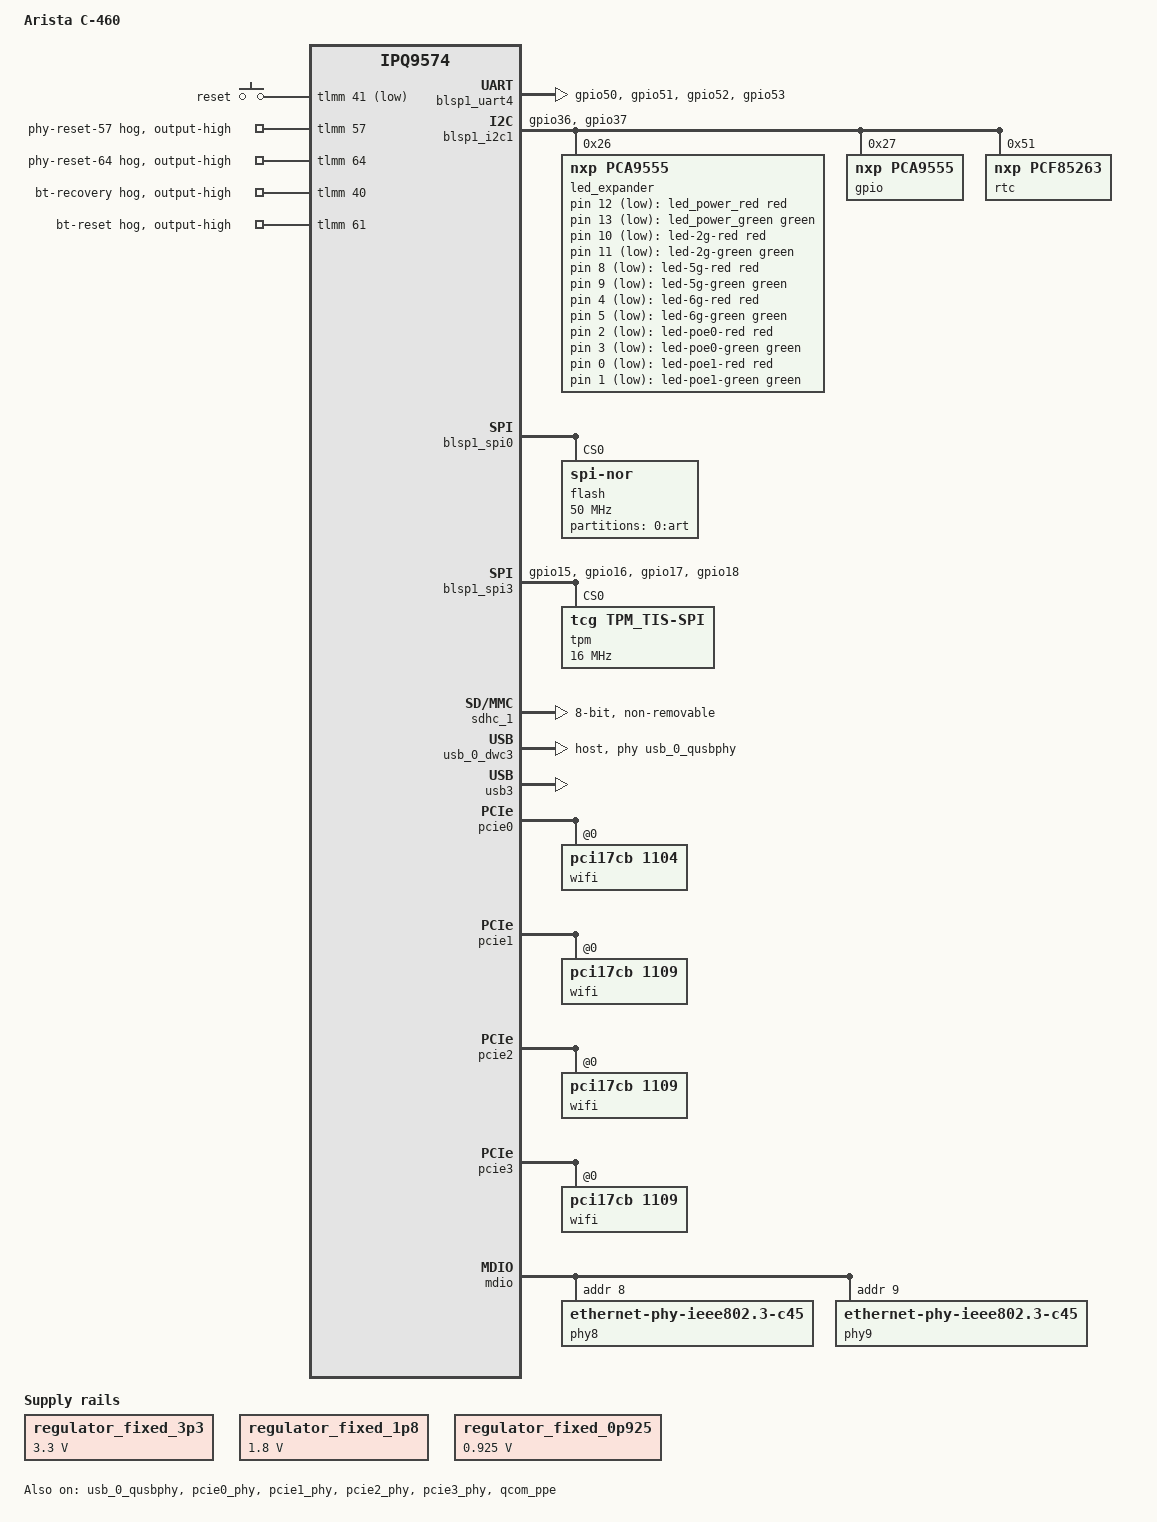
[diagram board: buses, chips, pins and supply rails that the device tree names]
// SPDX-License-Identifier: (GPL-2.0+ OR BSD-3-Clause)

/dts-v1/;

#include "ipq9574-common.dtsi"

/ {
	model = "Arista C-460";
	compatible = "arista,c-460", "qcom,ipq9574";

	aliases {
		led-boot = &led_power_red;
		led-failsafe = &led_power_red;
		led-running = &led_power_green;
		led-upgrade = &led_power_red;

		serial1 = &blsp1_uart4;
	};

	chosen {
		bootargs-append = " root=PARTLABEL=rootfs rootwait";
	};

	keys {
		compatible = "gpio-keys";
		pinctrl-0 = <&button_pins>;
		pinctrl-names = "default";

		reset {
			label = "reset";
			linux,code = <KEY_RESTART>;
			gpios = <&tlmm 41 GPIO_ACTIVE_LOW>;
			debounce-interval = <60>;
		};
	};

	/* Every LED is a red/green pair on the PCA9555 at 0x26, active low. */
	leds {
		compatible = "gpio-leds";

		led_power_red: led-power-red {
			color = <LED_COLOR_ID_RED>;
			function = LED_FUNCTION_POWER;
			gpios = <&led_expander 12 GPIO_ACTIVE_LOW>;
		};

		led_power_green: led-power-green {
			color = <LED_COLOR_ID_GREEN>;
			function = LED_FUNCTION_POWER;
			gpios = <&led_expander 13 GPIO_ACTIVE_LOW>;
		};

		led-2g-red {
			color = <LED_COLOR_ID_RED>;
			function = LED_FUNCTION_WLAN_2GHZ;
			gpios = <&led_expander 10 GPIO_ACTIVE_LOW>;
		};

		led-2g-green {
			color = <LED_COLOR_ID_GREEN>;
			function = LED_FUNCTION_WLAN_2GHZ;
			gpios = <&led_expander 11 GPIO_ACTIVE_LOW>;
		};

		led-5g-red {
			color = <LED_COLOR_ID_RED>;
			function = LED_FUNCTION_WLAN_5GHZ;
			gpios = <&led_expander 8 GPIO_ACTIVE_LOW>;
		};

		led-5g-green {
			color = <LED_COLOR_ID_GREEN>;
			function = LED_FUNCTION_WLAN_5GHZ;
			gpios = <&led_expander 9 GPIO_ACTIVE_LOW>;
		};

		/* "5g_6g" in the vendor firmware */
		led-6g-red {
			color = <LED_COLOR_ID_RED>;
			function = LED_FUNCTION_WLAN_6GHZ;
			gpios = <&led_expander 4 GPIO_ACTIVE_LOW>;
		};

		led-6g-green {
			color = <LED_COLOR_ID_GREEN>;
			function = LED_FUNCTION_WLAN_6GHZ;
			gpios = <&led_expander 5 GPIO_ACTIVE_LOW>;
		};

		/* "poe0" and "poe1" in the vendor firmware */
		led-poe0-red {
			color = <LED_COLOR_ID_RED>;
			function = "poe";
			function-enumerator = <0>;
			gpios = <&led_expander 2 GPIO_ACTIVE_LOW>;
		};

		led-poe0-green {
			color = <LED_COLOR_ID_GREEN>;
			function = "poe";
			function-enumerator = <0>;
			gpios = <&led_expander 3 GPIO_ACTIVE_LOW>;
		};

		led-poe1-red {
			color = <LED_COLOR_ID_RED>;
			function = "poe";
			function-enumerator = <1>;
			gpios = <&led_expander 0 GPIO_ACTIVE_LOW>;
		};

		led-poe1-green {
			color = <LED_COLOR_ID_GREEN>;
			function = "poe";
			function-enumerator = <1>;
			gpios = <&led_expander 1 GPIO_ACTIVE_LOW>;
		};
	};

	/*
	 * The USB PHYs' supplies. The vendor device tree names none and
	 * declares no PMIC LDO for them, so describe them as fixed rails
	 * that are always on, at the reference design's voltages.
	 */
	regulator_fixed_3p3: regulator-3p3 {
		compatible = "regulator-fixed";
		regulator-name = "fixed_3p3";
		regulator-min-microvolt = <3300000>;
		regulator-max-microvolt = <3300000>;
		regulator-always-on;
		regulator-boot-on;
	};

	regulator_fixed_1p8: regulator-1p8 {
		compatible = "regulator-fixed";
		regulator-name = "fixed_1p8";
		regulator-min-microvolt = <1800000>;
		regulator-max-microvolt = <1800000>;
		regulator-always-on;
		regulator-boot-on;
	};

	regulator_fixed_0p925: regulator-0p925 {
		compatible = "regulator-fixed";
		regulator-name = "fixed_0p925";
		regulator-min-microvolt = <925000>;
		regulator-max-microvolt = <925000>;
		regulator-always-on;
		regulator-boot-on;
	};
};

/* Preserve the C-460 regulator constraints when sharing the SoC defaults. */
&ipq9574_s1 {
	/delete-property/ regulator-always-on;
};

&ipq9574_s2 {
	/delete-property/ regulator-min-microvolt;
	/delete-property/ regulator-max-microvolt;
	/delete-property/ regulator-always-on;
};

/* Bluetooth LE controller (HCI over H:4, 1 Mbaud, no flow control) */
&blsp1_uart4 {
	pinctrl-0 = <&uart4_pins>;
	pinctrl-names = "default";
	status = "okay";
};

&blsp1_i2c1 {
	pinctrl-0 = <&i2c1_default>;
	pinctrl-names = "default";
	status = "okay";

	led_expander: gpio@26 {
		compatible = "nxp,pca9555";
		reg = <0x26>;
		gpio-controller;
		#gpio-cells = <2>;
	};

	/* read by the bootloader for PoE negotiation */
	gpio@27 {
		compatible = "nxp,pca9555";
		reg = <0x27>;
		gpio-controller;
		#gpio-cells = <2>;
	};

	rtc@51 {
		compatible = "nxp,pcf85263";
		reg = <0x51>;
	};

	/* Not described yet: a Quectel LC79H GNSS receiver at 0x50. */
};

&blsp1_spi0 {
	pinctrl-0 = <&spi_0_default>;
	pinctrl-names = "default";
	status = "okay";

	flash@0 {
		compatible = "jedec,spi-nor";
		reg = <0>;
		spi-max-frequency = <50000000>;

		/* Partition geometry is read from SMEM. */
		partitions {
			compatible = "qcom,smem-part";
			qcom,smem-flash-id = <0>;

			partition-0-art {
				label = "0:art";
				read-only;

				nvmem-layout {
					compatible = "fixed-layout";
					#address-cells = <1>;
					#size-cells = <1>;

					macaddr_lan1: macaddr@0 {
						reg = <0x0 0x6>;
					};

					macaddr_lan2: macaddr@6 {
						reg = <0x6 0x6>;
					};

					caldata_qcn9074: calibration@26800 {
						reg = <0x26800 0x20000>;
					};
				};
			};
		};
	};
};

/* TPM 2.0 (the vendor firmware's log reports device-id 0x1B, rev-id 22) */
&blsp1_spi3 {
	pinctrl-0 = <&spi_3_default>;
	pinctrl-names = "default";
	status = "okay";

	tpm@0 {
		compatible = "tcg,tpm_tis-spi";
		reg = <0>;
		spi-max-frequency = <16000000>;
	};
};

&sdhc_1 {
	bus-width = <8>;
	max-frequency = <192000000>;
	mmc-ddr-1_8v;
	mmc-hs200-1_8v;
	non-removable;
	pinctrl-0 = <&sdc_default_state>;
	pinctrl-names = "default";
	status = "okay";
};

&usb_0_dwc3 {
	/* The Type-A port is USB 2.0 only: leave the USB 3 PHY out */
	phys = <&usb_0_qusbphy>;
	phy-names = "usb2-phy";
	maximum-speed = "high-speed";
	dr_mode = "host";
};

&usb_0_qusbphy {
	vdd-supply = <&regulator_fixed_0p925>;
	vdda-pll-supply = <&regulator_fixed_1p8>;
	vdda-phy-dpdm-supply = <&regulator_fixed_3p3>;

	status = "okay";
};

&usb3 {
	/* No USB 3 PHY: clock the PIPE interface from UTMI */
	qcom,select-utmi-as-pipe-clk;
	status = "okay";
};

&tlmm {
	/*
	 * GPIO 57 and 64 are the reset lines of the two RTL8261N PHYs. The
	 * vendor firmware lists them for the bus without saying which PHY
	 * each one resets, and the bootloader has already released both, so
	 * they are held released here rather than pulsed per PHY.
	 */
	rtl8261n_reset_57 {
		gpio-hog;
		gpios = <57 GPIO_ACTIVE_HIGH>;
		output-high;
		line-name = "phy-reset-57";
	};

	rtl8261n_reset_64 {
		gpio-hog;
		gpios = <64 GPIO_ACTIVE_HIGH>;
		output-high;
		line-name = "phy-reset-64";
	};

	/*
	 * The Bluetooth controller boots its HCI firmware when its recovery
	 * line (GPIO 40) is high and its reset line (GPIO 61) is released,
	 * as the vendor firmware sets both.
	 */
	bt_recovery {
		gpio-hog;
		gpios = <40 GPIO_ACTIVE_HIGH>;
		output-high;
		line-name = "bt-recovery";
	};

	bt_reset {
		gpio-hog;
		gpios = <61 GPIO_ACTIVE_HIGH>;
		output-high;
		line-name = "bt-reset";
	};

	uart4_pins: uart4-state {
		pins = "gpio50", "gpio51", "gpio52", "gpio53";
		function = "blsp4_uart";
		drive-strength = <8>;
		bias-disable;
	};

	button_pins: button-state {
		pins = "gpio41";
		function = "gpio";
		drive-strength = <8>;
		bias-pull-up;
	};

	i2c1_default: i2c1-default-state {
		pins = "gpio36", "gpio37";
		function = "blsp1_i2c";
		drive-strength = <8>;
		bias-disable;
	};

	spi_3_default: spi-3-default-state {
		pins = "gpio15", "gpio16", "gpio17", "gpio18";
		function = "blsp3_spi";
		drive-strength = <8>;
		bias-disable;
	};

};

/*
 * Radios: pcie0 holds a 17cb:1104 (QCN9074 family, most likely the scan
 * radio), pcie1-3 the three 17cb:1109 QCN9224. Their OTP board ID is blank
 * (0xff), so the vendor firmware gives each one a board ID in its device
 * tree: 0xaa on pcie0, 0x01 on pcie1, 0x04 on pcie2, 0x02 on pcie3. The
 * calibration variants carry those IDs, as the Askey SBE1V1K's do.
 */
&pcie0_phy {
	status = "okay";
};

&pcie0 {
	pinctrl-0 = <&pcie0_default>;
	pinctrl-names = "default";
	perst-gpios = <&tlmm 23 GPIO_ACTIVE_LOW>;
	wake-gpios = <&tlmm 24 GPIO_ACTIVE_LOW>;
	status = "okay";

	pcie@0 {
		device_type = "pci";
		reg = <0x0 0x0 0x0 0x0 0x0>;
		#address-cells = <3>;
		#size-cells = <2>;
		ranges;

		wifi@0 {
			compatible = "pci17cb,1104";
			reg = <0x0 0x0 0x0 0x0 0x0>;
			/* as the vendor firmware: 16 + 1 interfaces, 512 clients */
			qcom,ath11k-fw-memory-mode = <0>;
			qcom,calibration-variant = "Arista-C-460";
			nvmem-cells = <&caldata_qcn9074>;
			nvmem-cell-names = "calibration";
		};
	};
};

&pcie1_phy {
	status = "okay";
};

&pcie1 {
	pinctrl-0 = <&pcie1_default>;
	pinctrl-names = "default";
	perst-gpios = <&tlmm 26 GPIO_ACTIVE_LOW>;
	wake-gpios = <&tlmm 27 GPIO_ACTIVE_LOW>;
	status = "okay";

	pcie@0 {
		device_type = "pci";
		reg = <0x0 0x0 0x0 0x0 0x0>;
		#address-cells = <3>;
		#size-cells = <2>;
		ranges;

		wifi@0 {
			compatible = "pci17cb,1109";
			reg = <0x0 0x0 0x0 0x0 0x0>;
			qcom,calibration-variant = "Arista-C-460_1";
		};
	};
};

&pcie2_phy {
	status = "okay";
};

&pcie2 {
	pinctrl-0 = <&pcie2_default>;
	pinctrl-names = "default";
	perst-gpios = <&tlmm 29 GPIO_ACTIVE_LOW>;
	wake-gpios = <&tlmm 30 GPIO_ACTIVE_LOW>;
	status = "okay";

	pcie@0 {
		device_type = "pci";
		reg = <0x0 0x0 0x0 0x0 0x0>;
		#address-cells = <3>;
		#size-cells = <2>;
		ranges;

		wifi@0 {
			compatible = "pci17cb,1109";
			reg = <0x0 0x0 0x0 0x0 0x0>;
			qcom,calibration-variant = "Arista-C-460_4";
		};
	};
};

&pcie3_phy {
	status = "okay";
};

&pcie3 {
	pinctrl-0 = <&pcie3_default>;
	pinctrl-names = "default";
	perst-gpios = <&tlmm 32 GPIO_ACTIVE_LOW>;
	wake-gpios = <&tlmm 33 GPIO_ACTIVE_LOW>;
	status = "okay";

	pcie@0 {
		device_type = "pci";
		reg = <0x0 0x0 0x0 0x0 0x0>;
		#address-cells = <3>;
		#size-cells = <2>;
		ranges;

		wifi@0 {
			compatible = "pci17cb,1109";
			reg = <0x0 0x0 0x0 0x0 0x0>;
			qcom,calibration-variant = "Arista-C-460_2";
		};
	};
};

&mdio {
	pinctrl-0 = <&mdio_pins>;
	pinctrl-names = "default";
	status = "okay";

	phy8: ethernet-phy@8 {
		compatible = "ethernet-phy-ieee802.3-c45";
		reg = <8>;
	};

	phy9: ethernet-phy@9 {
		compatible = "ethernet-phy-ieee802.3-c45";
		reg = <9>;
	};
};

/*
 * Two 10G ports, both RTL8261N over USXGMII. Port 6 is the vendor's eth0
 * (the bootloader negotiates PoE through it), port 5 its eth1.
 */
&qcom_ppe {
	status = "okay";

	ethernet-ports {
		#address-cells = <1>;
		#size-cells = <0>;

		port@5 {
			reg = <5>;
			phy-mode = "usxgmii";
			managed = "in-band-status";
			phy-handle = <&phy8>;
			pcs-handle = <&pcs1_ch0>;
			label = "lan2";

			nvmem-cells = <&macaddr_lan2>;
			nvmem-cell-names = "mac-address";

			clocks = <&nsscc NSS_CC_PORT5_MAC_CLK>,
				 <&nsscc NSS_CC_PORT5_RX_CLK>,
				 <&nsscc NSS_CC_PORT5_TX_CLK>;
			clock-names = "mac", "rx", "tx";

			resets = <&nsscc PORT5_MAC_ARES>,
				 <&nsscc PORT5_RX_ARES>,
				 <&nsscc PORT5_TX_ARES>;
			reset-names = "mac", "rx", "tx";
		};

		port@6 {
			reg = <6>;
			phy-mode = "usxgmii";
			managed = "in-band-status";
			phy-handle = <&phy9>;
			pcs-handle = <&pcs2_ch0>;
			label = "lan1";

			nvmem-cells = <&macaddr_lan1>;
			nvmem-cell-names = "mac-address";

			clocks = <&nsscc NSS_CC_PORT6_MAC_CLK>,
				 <&nsscc NSS_CC_PORT6_RX_CLK>,
				 <&nsscc NSS_CC_PORT6_TX_CLK>;
			clock-names = "mac", "rx", "tx";

			resets = <&nsscc PORT6_MAC_ARES>,
				 <&nsscc PORT6_RX_ARES>,
				 <&nsscc PORT6_TX_ARES>;
			reset-names = "mac", "rx", "tx";
		};
	};
};
